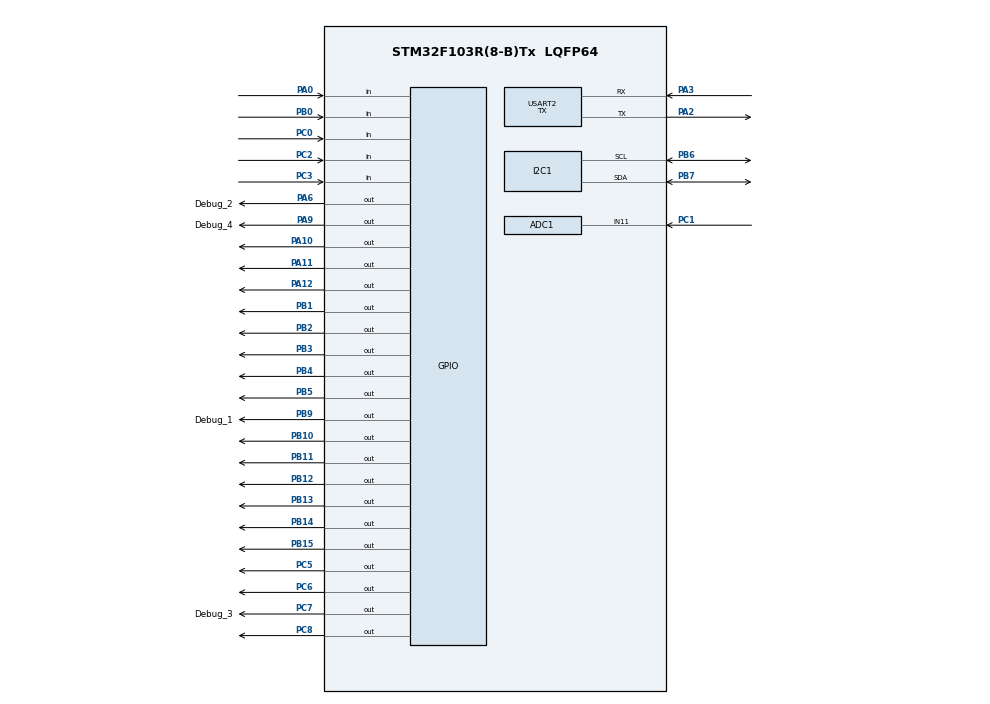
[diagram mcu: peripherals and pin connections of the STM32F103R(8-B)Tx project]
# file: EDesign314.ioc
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ADC1.Channel-7\#ChannelRegularConversion=ADC_CHANNEL_11
ADC1.NbrOfConversionFlag=1
ADC1.Rank-7\#ChannelRegularConversion=1
ADC1.SamplingTime-7\#ChannelRegularConversion=ADC_SAMPLETIME_1CYCLE_5
ADC1.master=1
Mcu.Family=STM32F1
Mcu.Name=STM32F103R(8-B)Tx
Mcu.Package=LQFP64
NVIC.PriorityGroup=NVIC_PRIORITYGROUP_4
PA0-WKUP.GPIO_PuPd=GPIO_PULLUP
PA0-WKUP.Signal=GPIO_Input
PA10.Signal=GPIO_Output
PA11.Signal=GPIO_Output
PA12.Signal=GPIO_Output
PA13.Mode=Serial_Wire
PA13.Signal=SYS_JTMS-SWDIO
PA14.Mode=Serial_Wire
PA14.Signal=SYS_JTCK-SWCLK
PA2.Mode=Asynchronous
PA2.Signal=USART2_TX
PA3.Mode=Asynchronous
PA3.Signal=USART2_RX
PA6.GPIO_Label=Debug_2
PA6.Signal=GPIO_Output
PA9.GPIO_Label=Debug_4
PA9.GPIO_PuPd=GPIO_NOPULL
PA9.PinState=GPIO_PIN_RESET
PA9.Signal=GPIO_Output
PB0.GPIO_PuPd=GPIO_PULLUP
PB0.Signal=GPIO_Input
PB1.Signal=GPIO_Output
PB10.Signal=GPIO_Output
PB11.Signal=GPIO_Output
PB12.Signal=GPIO_Output
PB13.Signal=GPIO_Output
PB14.Signal=GPIO_Output
PB15.Signal=GPIO_Output
PB2.Signal=GPIO_Output
PB3.Signal=GPIO_Output
PB4.Signal=GPIO_Output
PB5.Signal=GPIO_Output
PB6.Mode=I2C
PB6.Signal=I2C1_SCL
PB7.Mode=I2C
PB7.Signal=I2C1_SDA
PB9.GPIO_Label=Debug_1
PB9.GPIO_ModeDefaultOutputPP=GPIO_MODE_OUTPUT_PP
PB9.GPIO_PuPd=GPIO_NOPULL
PB9.PinState=GPIO_PIN_RESET
PB9.Signal=GPIO_Output
PC0.GPIO_PuPd=GPIO_PULLUP
PC0.Signal=GPIO_Input
PC1.Signal=ADCx_IN11
PC2.GPIO_PuPd=GPIO_PULLUP
PC2.Signal=GPIO_Input
PC3.GPIO_PuPd=GPIO_PULLUP
PC3.Signal=GPIO_Input
PC5.Signal=GPIO_Output
PC6.Signal=GPIO_Output
PC7.GPIO_Label=Debug_3
PC7.GPIO_PuPd=GPIO_NOPULL
PC7.PinState=GPIO_PIN_RESET
PC7.Signal=GPIO_Output
PC8.Signal=GPIO_Output
ProjectManager.HeapSize=0x200
ProjectManager.StackSize=0x400
ProjectManager.TargetToolchain=STM32CubeIDE
RCC.APB1Freq_Value=8000000
RCC.APB2Freq_Value=8000000
SH.ADCx_IN11.0=ADC1_IN11,IN11
USART2.Mode=MODE_TX
USART2.VirtualMode=VM_ASYNC
board=custom

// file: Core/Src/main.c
/* USER CODE BEGIN Header */
/**
  ******************************************************************************
  * @file           : main.c
  * @brief          : Main program body
  ******************************************************************************
  * @attention
  *
  * <h2><center>&copy; Copyright (c) 2021 STMicroelectronics.
  * All rights reserved.</center></h2>
  *
  * This software component is licensed by ST under BSD 3-Clause license,
  * the "License"; You may not use this file except in compliance with the
  * License. You may obtain a copy of the License at:
  *                        opensource.org/licenses/BSD-3-Clause
  *
  ******************************************************************************
  */
/* USER CODE END Header */

#include "main.h"

/* USER CODE BEGIN PD */
#include "string.h"
#include <stdio.h>
#include <stdlib.h>
#include "UserGeneral.h"
/* USER CODE END PD */

ADC_HandleTypeDef hadc1;

I2C_HandleTypeDef hi2c1;

UART_HandleTypeDef huart2;

/* USER CODE BEGIN PV */

extern HAL_StatusTypeDef accRes;
extern HAL_StatusTypeDef accRes2;

extern uint8_t i2c_transferData[8];
extern uint8_t i2c_accData[8];

extern uint16_t i2cAddress ;
extern uint8_t ControlRegister1;
extern uint8_t ControlRegister1Data;
extern uint8_t outxl_reg ;
/* USER CODE END PV */

void SystemClock_Config(void);
static void MX_GPIO_Init(void);
static void MX_USART2_UART_Init(void);
static void MX_ADC1_Init(void);
static void MX_I2C1_Init(void);

/* USER CODE BEGIN 0 */
//void debugPrint(UART_HandleTypeDef *huart, char _out[]){
 //HAL_UART_Transmit( huart, (uint8_t *) _out, strlen(_out), 10);
//}
/* USER CODE END 0 */

int main(void)
{

  /* MCU Configuration--------------------------------------------------------*/

  /* Reset of all peripherals, Initializes the Flash interface and the Systick. */
  HAL_Init();

  /* Configure the system clock */
  SystemClock_Config();

  /* Initialize all configured peripherals */
  MX_GPIO_Init();
  MX_USART2_UART_Init();
  MX_ADC1_Init();
  MX_I2C1_Init();
  /* USER CODE BEGIN 2 */

  i2c_transferData[0] = ControlRegister1;
  i2c_transferData[1] = ControlRegister1Data;

  accRes = HAL_I2C_Master_Transmit(&hi2c1,i2cAddress,i2c_transferData, 2, 10);

 start();

  /* USER CODE END 2 */

  /* Infinite loop */
  /* USER CODE BEGIN WHILE */
  while (1)
  {
	  mainloop();
    /* USER CODE END WHILE */

  }
}

void SystemClock_Config(void)
{
  RCC_OscInitTypeDef RCC_OscInitStruct = {0};
  RCC_ClkInitTypeDef RCC_ClkInitStruct = {0};
  RCC_PeriphCLKInitTypeDef PeriphClkInit = {0};

  /** Initializes the CPU, AHB and APB busses clocks
  */
  RCC_OscInitStruct.OscillatorType = RCC_OSCILLATORTYPE_HSI;
  RCC_OscInitStruct.HSIState = RCC_HSI_ON;
  RCC_OscInitStruct.HSICalibrationValue = RCC_HSICALIBRATION_DEFAULT;
  RCC_OscInitStruct.PLL.PLLState = RCC_PLL_NONE;
  if (HAL_RCC_OscConfig(&RCC_OscInitStruct) != HAL_OK)
  {
    Error_Handler();
  }
  /** Initializes the CPU, AHB and APB busses clocks
  */
  RCC_ClkInitStruct.ClockType = RCC_CLOCKTYPE_HCLK|RCC_CLOCKTYPE_SYSCLK
                              |RCC_CLOCKTYPE_PCLK1|RCC_CLOCKTYPE_PCLK2;
  RCC_ClkInitStruct.SYSCLKSource = RCC_SYSCLKSOURCE_HSI;
  RCC_ClkInitStruct.AHBCLKDivider = RCC_SYSCLK_DIV1;
  RCC_ClkInitStruct.APB1CLKDivider = RCC_HCLK_DIV1;
  RCC_ClkInitStruct.APB2CLKDivider = RCC_HCLK_DIV1;

  if (HAL_RCC_ClockConfig(&RCC_ClkInitStruct, FLASH_LATENCY_0) != HAL_OK)
  {
    Error_Handler();
  }
  PeriphClkInit.PeriphClockSelection = RCC_PERIPHCLK_ADC;
  PeriphClkInit.AdcClockSelection = RCC_ADCPCLK2_DIV2;
  if (HAL_RCCEx_PeriphCLKConfig(&PeriphClkInit) != HAL_OK)
  {
    Error_Handler();
  }
}

static void MX_ADC1_Init(void)
{

  ADC_ChannelConfTypeDef sConfig = {0};

  /** Common config
  */
  hadc1.Instance = ADC1;
  hadc1.Init.ScanConvMode = ADC_SCAN_DISABLE;
  hadc1.Init.ContinuousConvMode = DISABLE;
  hadc1.Init.DiscontinuousConvMode = DISABLE;
  hadc1.Init.ExternalTrigConv = ADC_SOFTWARE_START;
  hadc1.Init.DataAlign = ADC_DATAALIGN_RIGHT;
  hadc1.Init.NbrOfConversion = 1;
  if (HAL_ADC_Init(&hadc1) != HAL_OK)
  {
    Error_Handler();
  }
  /** Configure Regular Channel
  */
  sConfig.Channel = ADC_CHANNEL_11;
  sConfig.Rank = ADC_REGULAR_RANK_1;
  sConfig.SamplingTime = ADC_SAMPLETIME_1CYCLE_5;
  if (HAL_ADC_ConfigChannel(&hadc1, &sConfig) != HAL_OK)
  {
    Error_Handler();
  }

}

static void MX_I2C1_Init(void)
{

  hi2c1.Instance = I2C1;
  hi2c1.Init.ClockSpeed = 100000;
  hi2c1.Init.DutyCycle = I2C_DUTYCYCLE_2;
  hi2c1.Init.OwnAddress1 = 0;
  hi2c1.Init.AddressingMode = I2C_ADDRESSINGMODE_7BIT;
  hi2c1.Init.DualAddressMode = I2C_DUALADDRESS_DISABLE;
  hi2c1.Init.OwnAddress2 = 0;
  hi2c1.Init.GeneralCallMode = I2C_GENERALCALL_DISABLE;
  hi2c1.Init.NoStretchMode = I2C_NOSTRETCH_DISABLE;
  if (HAL_I2C_Init(&hi2c1) != HAL_OK)
  {
    Error_Handler();
  }

}

static void MX_USART2_UART_Init(void)
{

  huart2.Instance = USART2;
  huart2.Init.BaudRate = 115200;
  huart2.Init.WordLength = UART_WORDLENGTH_8B;
  huart2.Init.StopBits = UART_STOPBITS_1;
  huart2.Init.Parity = UART_PARITY_NONE;
  huart2.Init.Mode = UART_MODE_TX;
  huart2.Init.HwFlowCtl = UART_HWCONTROL_NONE;
  huart2.Init.OverSampling = UART_OVERSAMPLING_16;
  if (HAL_UART_Init(&huart2) != HAL_OK)
  {
    Error_Handler();
  }

}

static void MX_GPIO_Init(void)
{
  GPIO_InitTypeDef GPIO_InitStruct = {0};

  /* GPIO Ports Clock Enable */
  __HAL_RCC_GPIOC_CLK_ENABLE();
  __HAL_RCC_GPIOA_CLK_ENABLE();
  __HAL_RCC_GPIOB_CLK_ENABLE();

  /*Configure GPIO pin Output Level */
  HAL_GPIO_WritePin(GPIOA, Debug_2_Pin|Debug_4_Pin|GPIO_PIN_10|GPIO_PIN_11
                          |GPIO_PIN_12, GPIO_PIN_RESET);

  /*Configure GPIO pin Output Level */
  HAL_GPIO_WritePin(GPIOC, GPIO_PIN_5|GPIO_PIN_6|Debug_3_Pin|GPIO_PIN_8, GPIO_PIN_RESET);

  /*Configure GPIO pin Output Level */
  HAL_GPIO_WritePin(GPIOB, GPIO_PIN_1|GPIO_PIN_2|GPIO_PIN_10|GPIO_PIN_11
                          |GPIO_PIN_12|GPIO_PIN_13|GPIO_PIN_14|GPIO_PIN_15
                          |GPIO_PIN_3|GPIO_PIN_4|GPIO_PIN_5|Debug_1_Pin, GPIO_PIN_RESET);

  /*Configure GPIO pins : PC0 PC2 PC3 */
  GPIO_InitStruct.Pin = GPIO_PIN_0|GPIO_PIN_2|GPIO_PIN_3;
  GPIO_InitStruct.Mode = GPIO_MODE_INPUT;
  GPIO_InitStruct.Pull = GPIO_PULLUP;
  HAL_GPIO_Init(GPIOC, &GPIO_InitStruct);

  /*Configure GPIO pin : PA0 */
  GPIO_InitStruct.Pin = GPIO_PIN_0;
  GPIO_InitStruct.Mode = GPIO_MODE_INPUT;
  GPIO_InitStruct.Pull = GPIO_PULLUP;
  HAL_GPIO_Init(GPIOA, &GPIO_InitStruct);

  /*Configure GPIO pins : Debug_2_Pin Debug_4_Pin PA10 PA11
                           PA12 */
  GPIO_InitStruct.Pin = Debug_2_Pin|Debug_4_Pin|GPIO_PIN_10|GPIO_PIN_11
                          |GPIO_PIN_12;
  GPIO_InitStruct.Mode = GPIO_MODE_OUTPUT_PP;
  GPIO_InitStruct.Pull = GPIO_NOPULL;
  GPIO_InitStruct.Speed = GPIO_SPEED_FREQ_LOW;
  HAL_GPIO_Init(GPIOA, &GPIO_InitStruct);

  /*Configure GPIO pins : PC5 PC6 Debug_3_Pin PC8 */
  GPIO_InitStruct.Pin = GPIO_PIN_5|GPIO_PIN_6|Debug_3_Pin|GPIO_PIN_8;
  GPIO_InitStruct.Mode = GPIO_MODE_OUTPUT_PP;
  GPIO_InitStruct.Pull = GPIO_NOPULL;
  GPIO_InitStruct.Speed = GPIO_SPEED_FREQ_LOW;
  HAL_GPIO_Init(GPIOC, &GPIO_InitStruct);

  /*Configure GPIO pin : PB0 */
  GPIO_InitStruct.Pin = GPIO_PIN_0;
  GPIO_InitStruct.Mode = GPIO_MODE_INPUT;
  GPIO_InitStruct.Pull = GPIO_PULLUP;
  HAL_GPIO_Init(GPIOB, &GPIO_InitStruct);

  /*Configure GPIO pins : PB1 PB2 PB10 PB11
                           PB12 PB13 PB14 PB15
                           PB3 PB4 PB5 Debug_1_Pin */
  GPIO_InitStruct.Pin = GPIO_PIN_1|GPIO_PIN_2|GPIO_PIN_10|GPIO_PIN_11
                          |GPIO_PIN_12|GPIO_PIN_13|GPIO_PIN_14|GPIO_PIN_15
                          |GPIO_PIN_3|GPIO_PIN_4|GPIO_PIN_5|Debug_1_Pin;
  GPIO_InitStruct.Mode = GPIO_MODE_OUTPUT_PP;
  GPIO_InitStruct.Pull = GPIO_NOPULL;
  GPIO_InitStruct.Speed = GPIO_SPEED_FREQ_LOW;
  HAL_GPIO_Init(GPIOB, &GPIO_InitStruct);

}

void Error_Handler(void)
{
}

/************************ (C) COPYRIGHT STMicroelectronics *****END OF FILE****/
